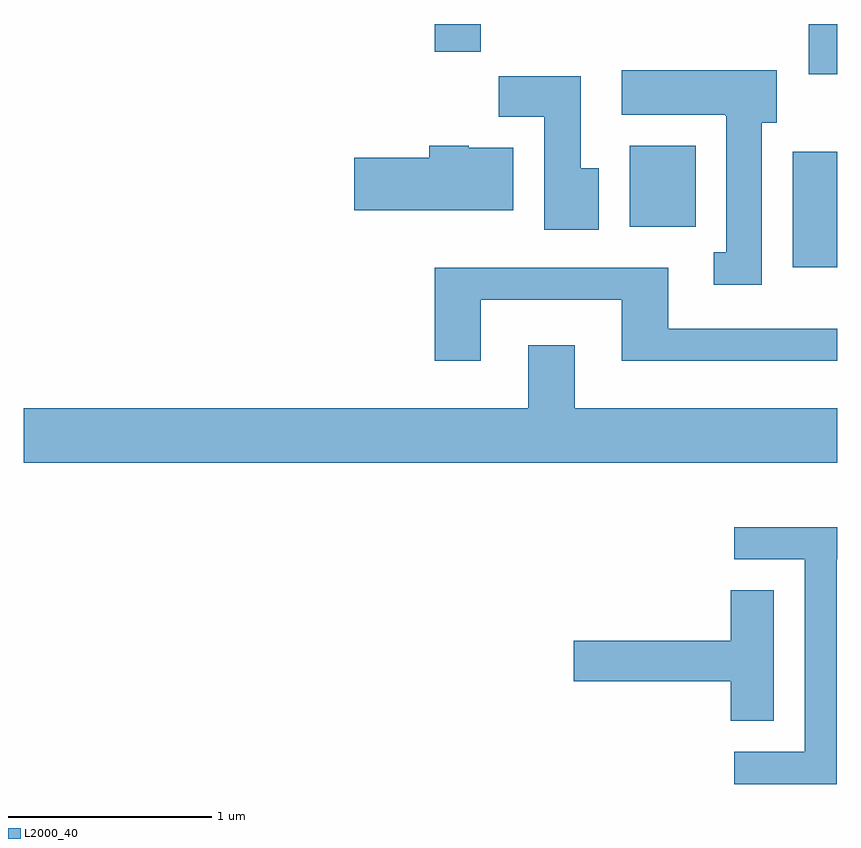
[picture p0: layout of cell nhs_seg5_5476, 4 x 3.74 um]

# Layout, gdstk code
import gdstk
lib = gdstk.Library(unit=1e-6, precision=1e-09)
def R(c, l, rs):  # rectangles x0, y0, x1, y1
    for r in rs: c.add(gdstk.rectangle(r[:2], r[2:], *l))
def P(c, l, *ps):  # polygons
    for p in ps: c.add(gdstk.Polygon(p, *l))
L2000_40 = (2000, 40)

nhs_seg5_5476 = lib.new_cell('nhs_seg5_5476')
R(nhs_seg5_5476, L2000_40, [(351.391,1448.876,351.611,1449.444), (350.591,1449.076,350.914,1449.474), (351.471,1449.826,351.611,1450.072), (349.631,1449.936,349.859,1450.072)])
P(nhs_seg5_5476, L2000_40, [(351.239,1449.586),(351.314,1449.586),(351.314,1449.844),(350.551,1449.844),(350.551,1449.626),(351.06,1449.626),(351.06,1449.62),(351.066,1449.62),(351.066,1448.949),(351.003,1448.949),(351.003,1448.791),(351.239,1448.791)],
  [(350.439,1449.364),(350.349,1449.364),(350.349,1449.814),(349.946,1449.814),(349.946,1449.616),(350.171,1449.616),(350.171,1449.061),(350.439,1449.061)],
  [(350.019,1449.464),(349.8,1449.464),(349.8,1449.474),(349.606,1449.474),(349.606,1449.414),(349.236,1449.414),(349.236,1449.156),(350.019,1449.156)],
  [(349.859,1448.716),(350.551,1448.716),(350.551,1448.416),(351.611,1448.416),(351.611,1448.574),(350.779,1448.574),(350.779,1448.874),(349.631,1448.874),(349.631,1448.416),(349.859,1448.416)],
  [(351.611,1448.184),(350.319,1448.184),(350.319,1448.494),(350.091,1448.494),(350.091,1448.184),(347.611,1448.184),(347.611,1447.916),(351.611,1447.916)],
  [(351.609,1447.441),(351.611,1447.441),(351.611,1447.599),(351.103,1447.599),(351.103,1447.441),(351.451,1447.441),(351.451,1446.494),(351.103,1446.494),(351.103,1446.336),(351.609,1446.336)],
  [(351.299,1447.289),(351.086,1447.289),(351.086,1447.039),(350.316,1447.039),(350.316,1446.841),(351.086,1446.841),(351.086,1446.646),(351.299,1446.646)])

lib.write_gds('nhs_seg5_5476.gds')
